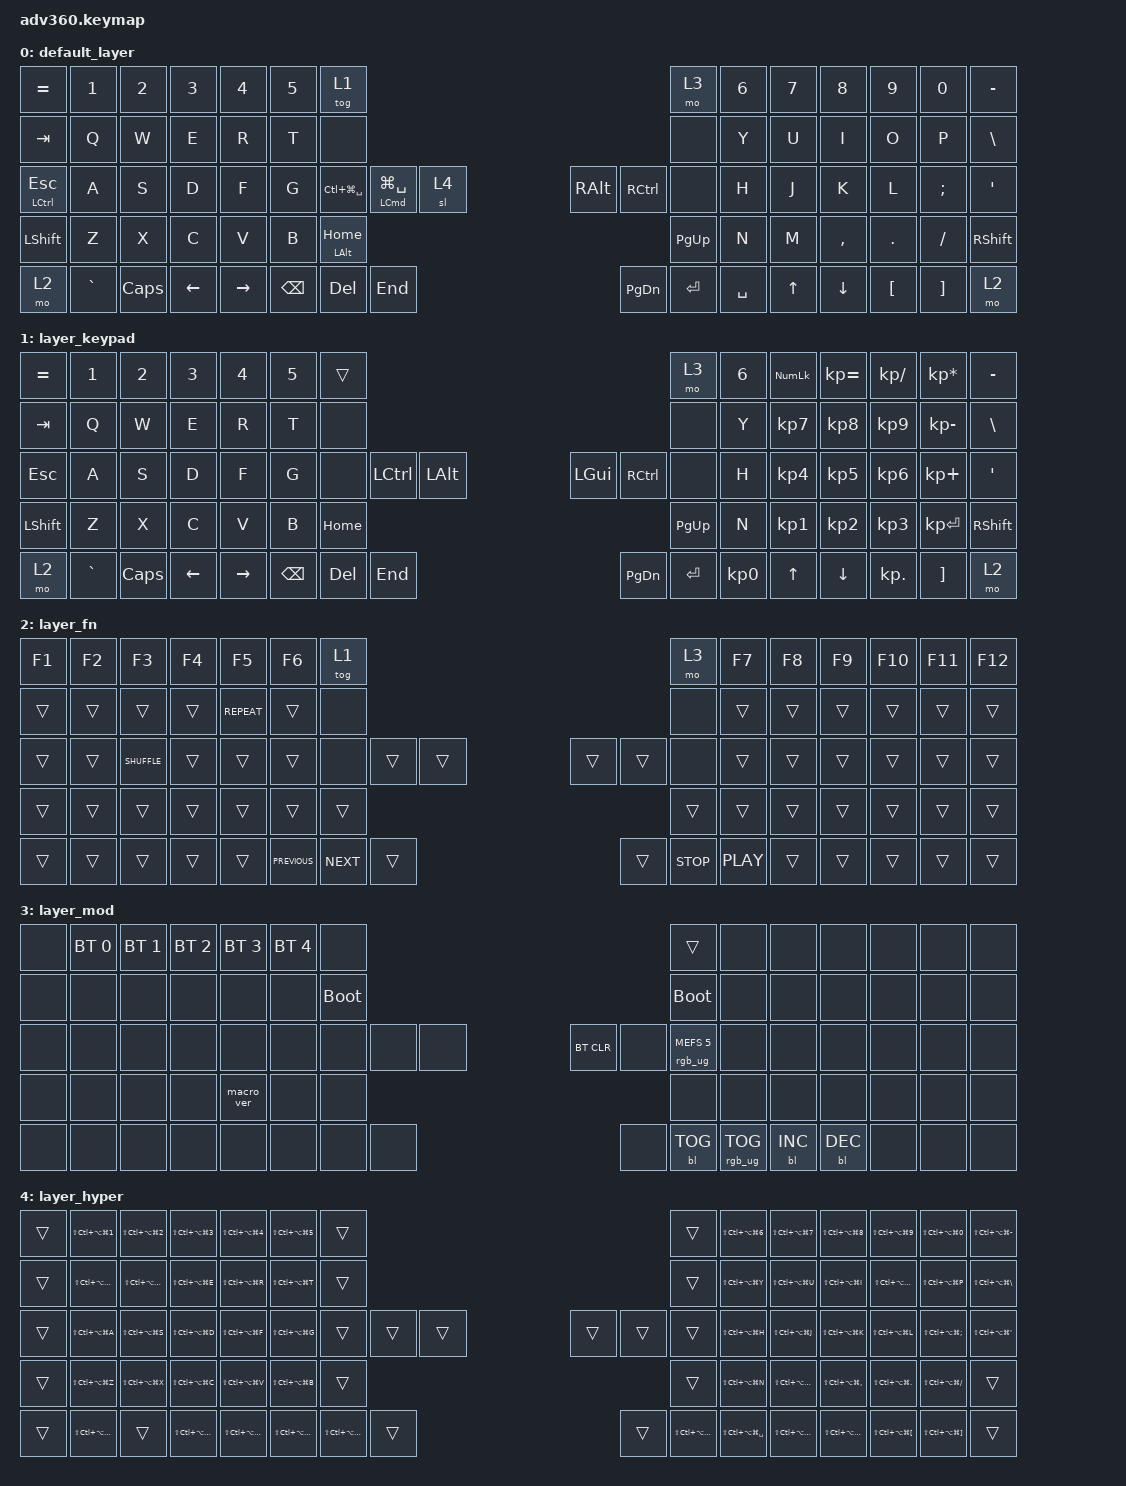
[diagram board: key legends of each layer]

/*
 * Copyright (c) 2020 The ZMK Contributors
 *
 * SPDX-License-Identifier: MIT
 */


/* THIS FILE WAS GENERATED!
 *
 * This file was generated automatically. You may or may not want to
 * edit it directly.
 */

#include <behaviors.dtsi>
#include <dt-bindings/zmk/keys.h>
#include <dt-bindings/zmk/bt.h>
#include <dt-bindings/zmk/rgb.h>
#include <dt-bindings/zmk/backlight.h>

/ {
  behaviors {
    #include "macros.dtsi"
    #include "version.dtsi"

    hm: homerow_mods {
        compatible = "zmk,behavior-hold-tap";
        label = "HOMEROW_MODS";
        #binding-cells = <2>;
        tapping-term-ms = <200>;
        quick_tap_ms = <175>;
        flavor = "tap-preferred";
        bindings = <&kp>, <&kp>;
    };
  };

    keymap {
        compatible = "zmk,keymap";


        default_layer {
            bindings = <
     &kp EQUAL     &kp N1    &kp N2    &kp N3     &kp N4  &kp N5                       &tog 1                                                                                   &mo 3  &kp N6  &kp N7     &kp N8    &kp N9    &kp N0  &kp MINUS
       &kp TAB      &kp Q     &kp W     &kp E      &kp R   &kp T                        &none                                                                                   &none   &kp Y   &kp U      &kp I     &kp O     &kp P   &kp BSLH
 &mt LCTRL ESC      &kp A     &kp S     &kp D      &kp F   &kp G            &kp LC(LG(SPACE))  &mt LCMD LG(SPACE)              &sl 4                   &kp RALT  &kp RCTRL      &none   &kp H   &kp J      &kp K     &kp L  &kp SEMI    &kp SQT
     &kp LSHFT      &kp Z     &kp X     &kp C      &kp V   &kp B                                                   &mt LEFT_ALT HOME                  &kp PG_UP                         &kp N   &kp M  &kp COMMA   &kp DOT  &kp FSLH  &kp RSHFT
         &mo 2  &kp GRAVE  &kp CAPS  &kp LEFT  &kp RIGHT                             &kp BSPC             &kp DEL            &kp END                  &kp PG_DN  &kp ENTER  &kp SPACE          &kp UP   &kp DOWN  &kp LBKT  &kp RBKT      &mo 2
            >;
        };

        layer_keypad {
            bindings = <
 &kp EQUAL     &kp N1    &kp N2    &kp N3     &kp N4  &kp N5              &trans                                                                 &mo 3  &kp N6  &kp KP_NUM  &kp KP_EQUAL  &kp KP_DIVIDE  &kp KP_MULTIPLY  &kp MINUS
   &kp TAB      &kp Q     &kp W     &kp E      &kp R   &kp T               &none                                                                 &none   &kp Y   &kp KP_N7     &kp KP_N8      &kp KP_N9     &kp KP_MINUS   &kp BSLH
   &kp ESC      &kp A     &kp S     &kp D      &kp F   &kp G               &none  &kp LCTRL  &kp LALT                   &kp LGUI  &kp RCTRL      &none   &kp H   &kp KP_N4     &kp KP_N5      &kp KP_N6      &kp KP_PLUS    &kp SQT
 &kp LSHFT      &kp Z     &kp X     &kp C      &kp V   &kp B                                 &kp HOME                  &kp PG_UP                         &kp N   &kp KP_N1     &kp KP_N2      &kp KP_N3     &kp KP_ENTER  &kp RSHFT
     &mo 2  &kp GRAVE  &kp CAPS  &kp LEFT  &kp RIGHT                    &kp BSPC    &kp DEL   &kp END                  &kp PG_DN  &kp ENTER  &kp KP_N0              &kp UP      &kp DOWN     &kp KP_DOT         &kp RBKT      &mo 2
            >;
        };

        layer_fn {
            bindings = <
 &kp F1  &kp F2         &kp F3  &kp F4        &kp F5  &kp F6                    &tog 1                                                               &mo 3  &kp F7  &kp F8  &kp F9  &kp F10  &kp F11  &kp F12
 &trans  &trans         &trans  &trans  &kp C_REPEAT  &trans                     &none                                                               &none  &trans  &trans  &trans   &trans   &trans   &trans
 &trans  &trans  &kp C_SHUFFLE  &trans        &trans  &trans                     &none      &trans  &trans                  &trans      &trans       &none  &trans  &trans  &trans   &trans   &trans   &trans
 &trans  &trans         &trans  &trans        &trans  &trans                                        &trans                  &trans                          &trans  &trans  &trans   &trans   &trans   &trans
 &trans  &trans         &trans  &trans        &trans                    &kp C_PREVIOUS  &kp C_NEXT  &trans                  &trans  &kp C_STOP  &kp C_PLAY          &trans  &trans   &trans   &trans   &trans
            >;
        };

        layer_mod {
            bindings = <
  &none  &bt BT_SEL 0  &bt BT_SEL 1  &bt BT_SEL 2  &bt BT_SEL 3  &bt BT_SEL 4                  &none                                                                          &trans   &none       &none       &none   &none   &none   &none
  &none         &none         &none         &none         &none         &none            &bootloader                                                                     &bootloader   &none       &none       &none   &none   &none   &none
  &none         &none         &none         &none         &none         &none                  &none   &none   &none                  &bt BT_CLR       &none  &rgb_ug RGB_MEFS_CMD 5   &none       &none       &none   &none   &none   &none
  &none         &none         &none         &none    &macro_ver         &none                                  &none                       &none                                       &none       &none       &none   &none   &none   &none
  &none         &none         &none         &none         &none                                &none   &none   &none                       &none  &bl BL_TOG         &rgb_ug RGB_TOG          &bl BL_INC  &bl BL_DEC   &none   &none   &none
            >;
        };

        layer_hyper {
            bindings = <
 &trans      &kp LS(LC(LA(LG(1))))  &kp LS(LC(LA(LG(2))))           &kp LS(LC(LA(LG(3))))            &kp LS(LC(LA(LG(4))))  &kp LS(LC(LA(LG(5))))                                   &trans                                                                                                            &trans  &kp LS(LC(LA(LG(6))))         &kp LS(LC(LA(LG(7))))           &kp LS(LC(LA(LG(8))))             &kp LS(LC(LA(LG(9))))              &kp LS(LC(LA(LG(0))))         &kp LS(LC(LA(LG(MINUS))))
 &trans      &kp LS(LC(LA(LG(Q))))  &kp LS(LC(LA(LG(W))))           &kp LS(LC(LA(LG(E))))            &kp LS(LC(LA(LG(R))))  &kp LS(LC(LA(LG(T))))                                   &trans                                                                                                            &trans  &kp LS(LC(LA(LG(Y))))         &kp LS(LC(LA(LG(U))))           &kp LS(LC(LA(LG(I))))             &kp LS(LC(LA(LG(O))))              &kp LS(LC(LA(LG(P))))     &kp LS(LC(LA(LG(BACKSLASH))))
 &trans      &kp LS(LC(LA(LG(A))))  &kp LS(LC(LA(LG(S))))           &kp LS(LC(LA(LG(D))))            &kp LS(LC(LA(LG(F))))  &kp LS(LC(LA(LG(G))))                                   &trans                      &trans  &trans                  &trans                     &trans                     &trans  &kp LS(LC(LA(LG(H))))         &kp LS(LC(LA(LG(J))))           &kp LS(LC(LA(LG(K))))             &kp LS(LC(LA(LG(L))))      &kp LS(LC(LA(LG(SEMICOLON))))  &kp LS(LC(LA(LG(SINGLE_QUOTE))))
 &trans      &kp LS(LC(LA(LG(Z))))  &kp LS(LC(LA(LG(X))))           &kp LS(LC(LA(LG(C))))            &kp LS(LC(LA(LG(V))))  &kp LS(LC(LA(LG(B))))                                                                       &trans                  &trans                                                        &kp LS(LC(LA(LG(N))))         &kp LS(LC(LA(LG(M))))       &kp LS(LC(LA(LG(COMMA))))        &kp LS(LC(LA(LG(PERIOD))))          &kp LS(LC(LA(LG(SLASH))))                            &trans
 &trans  &kp LS(LC(LA(LG(TILDE))))                 &trans  &kp LS(LC(LA(LG(LEFT_ARROW))))  &kp LS(LC(LA(LG(RIGHT_ARROW))))                                   &kp LS(LC(LA(LG(BACKSPACE))))  &kp LS(LC(LA(LG(DELETE))))  &trans                  &trans  &kp LS(LC(LA(LG(ENTER))))  &kp LS(LC(LA(LG(SPACE))))                         &kp LS(LC(LA(LG(UP_ARROW))))  &kp LS(LC(LA(LG(DOWN_ARROW))))  &kp LS(LC(LA(LG(LEFT_BRACKET))))  &kp LS(LC(LA(LG(RIGHT_BRACKET))))                            &trans
            >;
        };

    };
};
